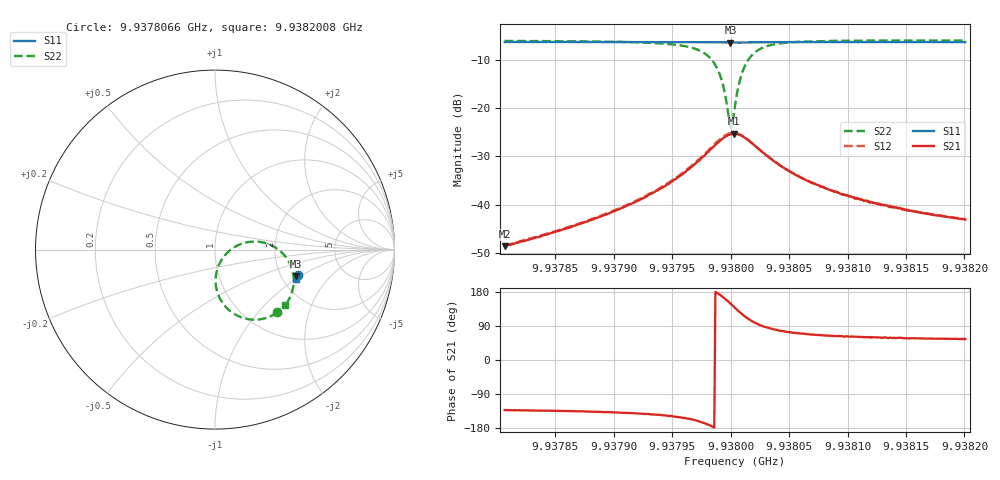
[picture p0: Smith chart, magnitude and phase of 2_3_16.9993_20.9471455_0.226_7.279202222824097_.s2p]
#  HZ  S  RI  R  50.00
! Rohde & Schwarz Vector Network Analyzer
! Rohde-Schwarz,ZNB20-2Port,1311601062101988,3.16
! Created: UTC 3/20/2024, 10:52:07 PM
! freq[Hz]  re:S11  im:S11  re:S21  im:S21  re:S12  im:S12  re:S22  im:S22
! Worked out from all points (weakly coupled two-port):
!   401 points, 9.9378066 GHz to 9.9382008 GHz, reference 50 ohm
!   highest |S21| = -25.31 dB at 9.9380027 GHz (marker M1); lowest = -48.6 dB at 9.9378066 GHz (marker M2)
!   lowest |S11| = -6.5 dB at 9.9379997 GHz (marker M3), VSWR 2.80, Z = 119 - j45.8 ohm
!   |S11| at or under -10 dB: nowhere
!   |S22| runs from -23.9 to -6.0 dB; largest |S21 - S12| = 0.0031
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9.93780657e9  0.4608 -0.1388  -0.0025 -0.00276  -0.00259 -0.00276  0.3482 -0.3494
9.9378726e9  0.4587 -0.1434  -0.00457 -0.00449  -0.00471 -0.00452  0.3258 -0.3634
9.93790611e9  0.4576 -0.1458  -0.00694 -0.006  -0.00717 -0.00602  0.3037 -0.374
9.93793863e9  0.4565 -0.1484  -0.0117 -0.00839  -0.0121 -0.00825  0.2606 -0.3868
9.93796722e9  0.4544 -0.1507  -0.0231 -0.00991  -0.0238 -0.00946  0.1658 -0.3833
9.93798298e9  0.4522 -0.1514  -0.0373 -0.0041  -0.0386 -0.00312  0.0584 -0.3177
9.93798791e9  0.4513 -0.1512  -0.0425 0.00145  -0.0442 0.00301  0.0229 -0.263
9.93799185e9  0.4506 -0.1505  -0.0462 0.00846  -0.0474 0.0105  0.00503 -0.2015
9.93799481e9  0.4502 -0.1502  -0.0475 0.0149  -0.0485 0.0175  0.00501 -0.1453
9.93799974e9  0.4498 -0.1488  -0.0458 0.0274  -0.0456 0.0304  0.0418 -0.0488
9.93800072e9  0.4501 -0.1485  -0.0446 0.0299  -0.0442 0.0327  0.0554 -0.0314
9.9380027e9  0.4501 -0.1482  -0.042 0.0344  -0.041 0.0373  0.0873 -0.000655
9.93800368e9  0.4503 -0.1478  -0.04 0.0365  -0.039 0.0392  0.1051 0.0117
9.93800664e9  0.4508 -0.1474  -0.0335 0.0413  -0.032 0.0435  0.1637 0.0375
9.93801058e9  0.4518 -0.1472  -0.0244 0.0444  -0.0224 0.0458  0.2412 0.0441
9.93801551e9  0.453 -0.1471  -0.014 0.0438  -0.0121 0.0445  0.3202 0.0212
9.93802044e9  0.4538 -0.1477  -0.00632 0.0404  -0.00477 0.0408  0.3732 -0.017
9.93803719e9  0.455 -0.1501  0.00464 0.0277  0.00538 0.0277  0.4351 -0.1329
9.93806971e9  0.4547 -0.1537  0.00652 0.0155  0.00693 0.0154  0.4309 -0.2312
9.93810125e9  0.4538 -0.1562  0.00575 0.0107  0.00602 0.0107  0.4169 -0.2681
9.93813574e9  0.4529 -0.1587  0.00492 0.00806  0.00527 0.00823  0.4055 -0.289
9.93820079e9  0.4511 -0.1631  0.00399 0.00576  0.00412 0.00575  0.3914 -0.3094
